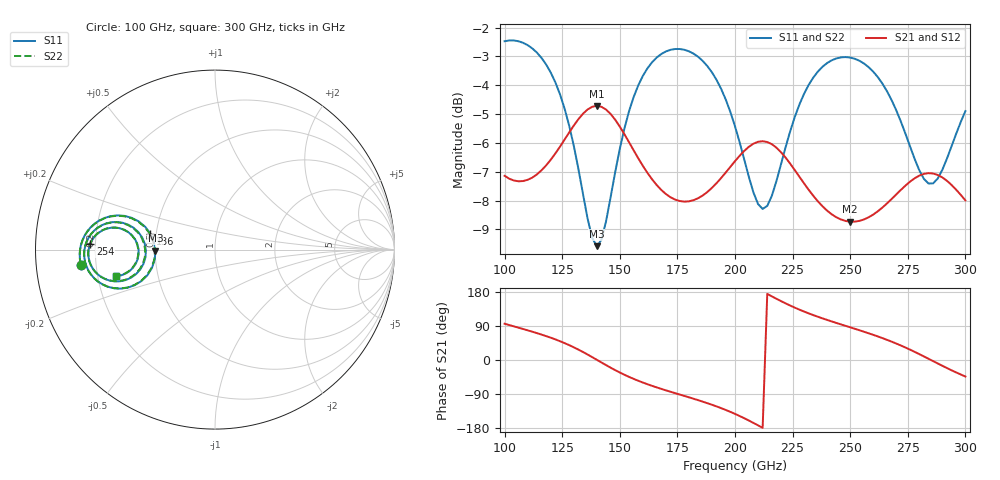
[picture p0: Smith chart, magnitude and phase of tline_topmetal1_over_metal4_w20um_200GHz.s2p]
#  GHZ S DB R 50
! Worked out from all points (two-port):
!   101 points, 100 GHz to 300 GHz, reference 50 ohm
!   highest |S21| = -4.72 dB at 140 GHz (marker M1); lowest = -8.7 dB at 250 GHz (marker M2)
!   |S21| within 3 dB of the highest: start of sweep to 169.2 GHz; 187.8 GHz to 232.8 GHz (45.04 GHz wide, 21.4 % of centre)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
!   lowest |S11| = -9.6 dB at 140 GHz (marker M3), VSWR 1.99, Z = 25.1 - j0.311 ohm
!   |S11| at or under -10 dB: nowhere
!   |S22| runs from -9.5 to -2.4 dB; largest |S21 - S12| = 7.3e-14
!   S11 on the Smith chart (normalised r, x): 100 GHz: 0.14, -0.06; 136 GHz: 0.46, +0.10; 254 GHz: 0.18, +0.02; 300 GHz: 0.28, -0.12
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100  -2.48 -173.5  -7.14 95.7  -7.14 95.7  -2.47 -173.4
112  -2.72 173.9  -7.20 74.7  -7.20 74.7  -2.72 174.1
122  -3.90 163.9  -6.37 54.4  -6.37 54.4  -3.89 164.1
134  -7.76 161.9  -4.99 21.2  -4.99 21.2  -7.73 162.2
136  -8.62 166.1  -4.84 14.5  -4.84 14.5  -8.57 166.4
140  -9.58 -179.0  -4.72 0.6  -4.72 0.6  -9.51 -178.9
146  -7.89 -159.2  -5.00 -20.2  -5.00 -20.2  -7.84 -159.4
152  -5.50 -156.5  -5.70 -38.9  -5.70 -38.9  -5.47 -156.6
168  -2.92 -170.6  -7.63 -76.2  -7.63 -76.2  -2.91 -170.6
184  -3.02 174.5  -7.92 -106.0  -7.92 -106.0  -3.01 174.6
200  -5.42 163.8  -6.63 -142.2  -6.63 -142.2  -5.40 164.0
208  -7.72 170.6  -6.03 -166.0  -6.03 -166.0  -7.66 170.8
214  -8.19 -173.7  -5.97 174.4  -5.97 174.4  -8.10 -173.7
224  -5.58 -161.2  -6.73 143.5  -6.73 143.5  -5.54 -161.4
234  -3.73 -166.4  -7.84 118.4  -7.84 118.4  -3.71 -166.6
250  -3.04 -179.5  -8.73 86.3  -8.73 86.3  -3.03 -179.6
254  -3.15 177.3  -8.70 78.5  -8.70 78.5  -3.14 177.2
268  -4.52 168.2  -7.94 48.4  -7.94 48.4  -4.51 168.2
276  -6.13 168.5  -7.34 27.2  -7.34 27.2  -6.11 168.5
284  -7.41 179.6  -7.05 3.2  -7.05 3.2  -7.38 179.5
290  -6.93 -169.6  -7.20 -15.3  -7.20 -15.3  -6.90 -169.8
300  -4.90 -164.9  -7.99 -43.6  -7.99 -43.6  -4.88 -165.1
